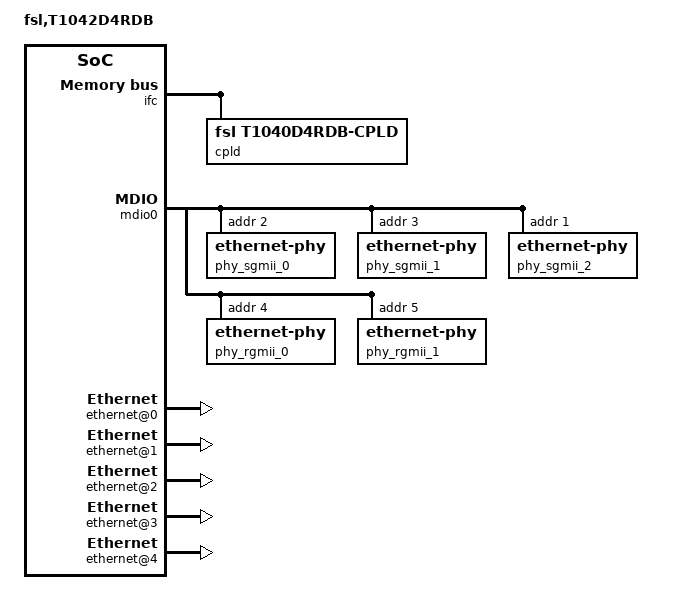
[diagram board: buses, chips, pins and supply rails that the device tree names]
/*
 * T1042D4RDB Device Tree Source
 *
 * Copyright 2015 Freescale Semiconductor Inc.
 *
 * Redistribution and use in source and binary forms, with or without
 * modification, are permitted provided that the following conditions are met:
 *     * Redistributions of source code must retain the above copyright
 *	 notice, this list of conditions and the following disclaimer.
 *     * Redistributions in binary form must reproduce the above copyright
 *	 notice, this list of conditions and the following disclaimer in the
 *	 documentation and/or other materials provided with the distribution.
 *     * Neither the name of Freescale Semiconductor nor the
 *	 names of its contributors may be used to endorse or promote products
 *	 derived from this software without specific prior written permission.
 *
 *
 * ALTERNATIVELY, this software may be distributed under the terms of the
 * GNU General Public License ("GPL") as published by the Free Software
 * Foundation, either version 2 of that License or (at your option) any
 * later version.
 *
 * THIS SOFTWARE IS PROVIDED BY Freescale Semiconductor "AS IS" AND ANY
 * EXPRESS OR IMPLIED WARRANTIES, INCLUDING, BUT NOT LIMITED TO, THE IMPLIED
 * WARRANTIES OF MERCHANTABILITY AND FITNESS FOR A PARTICULAR PURPOSE ARE
 * DISCLAIMED. IN NO EVENT SHALL Freescale Semiconductor BE LIABLE FOR ANY
 * DIRECT, INDIRECT, INCIDENTAL, SPECIAL, EXEMPLARY, OR CONSEQUENTIAL DAMAGES
 * (INCLUDING, BUT NOT LIMITED TO, PROCUREMENT OF SUBSTITUTE GOODS OR SERVICES;
 * LOSS OF USE, DATA, OR PROFITS; OR BUSINESS INTERRUPTION) HOWEVER CAUSED AND
 * ON ANY THEORY OF LIABILITY, WHETHER IN CONTRACT, STRICT LIABILITY, OR TORT
 * (INCLUDING NEGLIGENCE OR OTHERWISE) ARISING IN ANY WAY OUT OF THE USE OF THIS
 * SOFTWARE, EVEN IF ADVISED OF THE POSSIBILITY OF SUCH DAMAGE.
 */

/include/ "fsl/t104xsi-pre.dtsi"
/include/ "t104xd4rdb.dtsi"

/ {
	model = "fsl,T1042D4RDB";
	compatible = "fsl,T1042D4RDB";
	#address-cells = <2>;
	#size-cells = <2>;
	interrupt-parent = <&mpic>;

	chosen {
	    name = "chosen";

	    dpaa-extended-args {
		fman1-extd-args {
		    cell-index = <0>;
		    compatible = "fsl,fman-extended-args";
		    fman1_rx3-extd-args {
			cell-index = <3>;
			compatible = "fsl,fman-port-1g-rx-extended-args";
			ar-tables-sizes = <10 10 10 10 10 10 20 2000>;
			ar-filters-sizes = <10 20 20>;
		    };
		};
	    };
	};

	aliases {
		phy_sgmii_0 = &phy_sgmii_0;
		phy_sgmii_1 = &phy_sgmii_1;
		phy_sgmii_2 = &phy_sgmii_2;
		phy_rgmii_0 = &phy_rgmii_0;
		phy_rgmii_1 = &phy_rgmii_1;
	};

	ifc: localbus@ffe124000 {
		cpld@3,0 {
			compatible = "fsl,t1040d4rdb-cpld", "fsl,deepsleep-cpld";
		};
	};


	soc: soc@ffe000000 {
		ranges = <0x00000000 0xf 0xfe000000 0x1000000>;
		reg = <0xf 0xfe000000 0 0x00001000>;

	        qman: qman@318000 {
	        };
	        bman: bman@31a000 {
	        };

		fman0: fman@400000 {
			sleep = <&rcpm 0x00000008>;

			enet0: ethernet@e0000 {
				phy-handle = <&phy_sgmii_0>;
				phy-connection-type = "sgmii";
				sleep = <&rcpm 0x80000000>;
			};

			enet1: ethernet@e2000 {
				phy-handle = <&phy_sgmii_1>;
				phy-connection-type = "sgmii";
				sleep = <&rcpm 0x40000000>;
			};

			enet2: ethernet@e4000 {
				phy-handle = <&phy_sgmii_2>;
				phy-connection-type = "sgmii";
				sleep = <&rcpm 0x20000000>;
			};

			enet3: ethernet@e6000 {
				phy-handle = <&phy_rgmii_0>;
				phy-connection-type = "rgmii";
				sleep = <&rcpm 0x10000000>;
			};

			enet4: ethernet@e8000 {
				phy-handle = <&phy_rgmii_1>;
				phy-connection-type = "rgmii";
				sleep = <&rcpm 0x08000000>;
			};

			mdio0: mdio@fc000 {
				phy_sgmii_0: ethernet-phy@02 {
					reg = <0x02>;
				};
				phy_sgmii_1: ethernet-phy@03 {
					reg = <0x03>;
				};
				phy_sgmii_2: ethernet-phy@01 {
					reg = <0x01>;
				};
				phy_rgmii_0: ethernet-phy@04 {
					reg = <0x04>;
				};
				phy_rgmii_1: ethernet-phy@05 {
					reg = <0x05>;
				};
			};
		};

	};

	/* bp dts definition is borrowed from other USDPAA dts */
	bp6: buffer-pool@6 {
		compatible = "fsl,t1040-bpool", "fsl,bpool";
		fsl,bpid = <6>;
		fsl,bpool-ethernet-cfg = <0 0 0 1728 0 0xfeedabba>;
		fsl,bpool-thresholds = <0x100 0x300 0x0 0x0>;
	};

	fsl,dpaa {
		compatible = "fsl,t1040-dpaa", "fsl,dpaa";
		ethernet@0 {
			compatible = "fsl,t1040-dpa-ethernet", "fsl,dpa-ethernet";
			fsl,fman-mac = <&enet0>;
		};
		ethernet@1 {
			compatible = "fsl,t1040-dpa-ethernet", "fsl,dpa-ethernet";
			fsl,fman-mac = <&enet1>;
		};
		ethernet@2 {
			compatible = "fsl,t1040-dpa-ethernet", "fsl,dpa-ethernet";
			fsl,fman-mac = <&enet2>;
		};
		ethernet@3 {
			compatible = "fsl,t1040-dpa-ethernet", "fsl,dpa-ethernet";
			fsl,fman-mac = <&enet3>;
		};
		ethernet@4 {
			compatible = "fsl,t1040-dpa-ethernet", "fsl,dpa-ethernet";
			fsl,fman-mac = <&enet4>;
		};
		/* enable one offline port */
		dpa-fman0-oh@2 {
			compatible = "fsl,dpa-oh";
			/* Define frame queues for the OH port*/
			/* <OH Rx error, OH Rx default> */
			fsl,qman-frame-queues-oh = <0x68 1 0x69 1>;
			fsl,bman-buffer-pools = <&bp6>;
			fsl,qman-frame-queues-tx = <0x90 8>;
			fsl,fman-oh-port = <&fman0_oh2>;
		};
	};

	qe: qe@ffe139999 {
		ranges = <0x0 0xf 0xfe140000 0x40000>;
		reg = <0xf 0xfe140000 0 0x480>;
		brg-frequency = <0>;
		bus-frequency = <0>;

		si1: si@700 {
			#address-cells = <1>;
			#size-cells = <0>;
			compatible = "fsl,qe-si";
			reg = <0x700 0x80>;
		};

		siram1: siram@1000 {
			#address-cells = <1>;
			#size-cells = <1>;
			compatible = "fsl,qe-siram";
			reg = <0x1000 0x800>;
		};

		tdma: ucc@2000 {
			compatible = "fsl,ucc-tdm";
			rx-clock-name = "clk8";
			tx-clock-name = "clk9";
			fsl,rx-sync-clock = "rsync_pin";
			fsl,tx-sync-clock = "tsync_pin";
			fsl,tx-timeslot = <0xfffffffe>;
			fsl,rx-timeslot = <0xfffffffe>;
			fsl,tdm-framer-type = "e1";
			fsl,tdm-mode = "normal";
			fsl,tdm-id = <0>;
			fsl,siram-entry-id = <0>;
		};

		ucc@2200 {
			compatible = "fsl,ucc_hdlc";
			rx-clock-name = "clk10";
			tx-clock-name = "clk11";
			fsl,rx-sync-clock = "rsync_pin";
			fsl,tx-sync-clock = "tsync_pin";
			fsl,tx-timeslot = <0xfffffffe>;
			fsl,rx-timeslot = <0xfffffffe>;
			fsl,tdm-framer-type = "e1";
			fsl,tdm-mode = "normal";
			fsl,tdm-id = <1>;
			fsl,siram-entry-id = <2>;
			fsl,tdm-interface;
		};
	};
};
/include/ "fsl/t1040si-post.dtsi"
/include/ "fsl/qoriq-dpaa-res3.dtsi"
